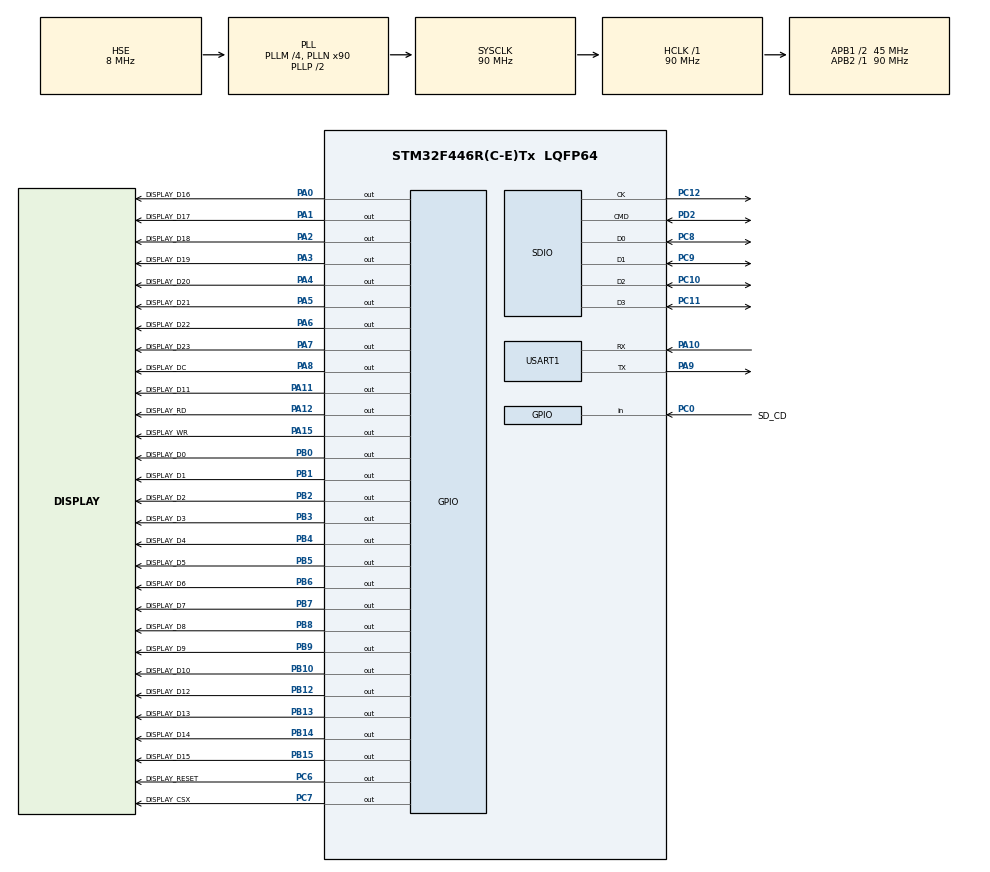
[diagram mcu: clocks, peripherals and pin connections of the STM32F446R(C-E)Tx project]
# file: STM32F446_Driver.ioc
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FATFS.BSP.number=1
FATFS._FS_LOCK=1
FATFS._MAX_SS=4096
FATFS0.BSP.STBoard=false
FATFS0.BSP.api=Unknown
FATFS0.BSP.instance=PC0
FATFS0.BSP.ip=GPIO
FATFS0.BSP.mode=Input
FATFS0.BSP.name=Detect_SDIO
FATFS0.BSP.solution=PC0
Mcu.Family=STM32F4
Mcu.Name=STM32F446R(C-E)Tx
Mcu.Package=LQFP64
NVIC.PriorityGroup=NVIC_PRIORITYGROUP_4
PA0-WKUP.GPIO_Label=DISPLAY_D16
PA0-WKUP.Signal=GPIO_Output
PA1.GPIO_Label=DISPLAY_D17
PA1.Signal=GPIO_Output
PA10.Mode=Asynchronous
PA10.Signal=USART1_RX
PA11.GPIO_Label=DISPLAY_D11
PA11.Signal=GPIO_Output
PA12.GPIO_Label=DISPLAY_RD
PA12.Signal=GPIO_Output
PA13.Mode=Serial_Wire
PA13.Signal=SYS_JTMS-SWDIO
PA14.Mode=Serial_Wire
PA14.Signal=SYS_JTCK-SWCLK
PA15.GPIO_Label=DISPLAY_WR
PA15.Signal=GPIO_Output
PA2.GPIO_Label=DISPLAY_D18
PA2.Signal=GPIO_Output
PA3.GPIO_Label=DISPLAY_D19
PA3.Signal=GPIO_Output
PA4.GPIO_Label=DISPLAY_D20
PA4.Signal=GPIO_Output
PA5.GPIO_Label=DISPLAY_D21
PA5.Signal=GPIO_Output
PA6.GPIO_Label=DISPLAY_D22
PA6.Signal=GPIO_Output
PA7.GPIO_Label=DISPLAY_D23
PA7.Signal=GPIO_Output
PA8.GPIO_Label=DISPLAY_DC
PA8.Signal=GPIO_Output
PA9.Mode=Asynchronous
PA9.Signal=USART1_TX
PB0.GPIO_Label=DISPLAY_D0
PB0.Signal=GPIO_Output
PB1.GPIO_Label=DISPLAY_D1
PB1.Signal=GPIO_Output
PB10.GPIO_Label=DISPLAY_D10
PB10.Signal=GPIO_Output
PB12.GPIO_Label=DISPLAY_D12
PB12.Signal=GPIO_Output
PB13.GPIO_Label=DISPLAY_D13
PB13.Signal=GPIO_Output
PB14.GPIO_Label=DISPLAY_D14
PB14.Signal=GPIO_Output
PB15.GPIO_Label=DISPLAY_D15
PB15.Signal=GPIO_Output
PB2.GPIO_Label=DISPLAY_D2
PB2.Signal=GPIO_Output
PB3.GPIO_Label=DISPLAY_D3
PB3.Signal=GPIO_Output
PB4.GPIO_Label=DISPLAY_D4
PB4.Signal=GPIO_Output
PB5.GPIO_Label=DISPLAY_D5
PB5.Signal=GPIO_Output
PB6.GPIO_Label=DISPLAY_D6
PB6.Signal=GPIO_Output
PB7.GPIO_Label=DISPLAY_D7
PB7.Signal=GPIO_Output
PB8.GPIO_Label=DISPLAY_D8
PB8.Signal=GPIO_Output
PB9.GPIO_Label=DISPLAY_D9
PB9.Signal=GPIO_Output
PC0.GPIO_Label=SD_CD
PC0.GPIO_PuPd=GPIO_NOPULL
PC0.Signal=GPIO_Input
PC10.Mode=SD_4_bits_Wide_bus
PC10.Signal=SDIO_D2
PC11.Mode=SD_4_bits_Wide_bus
PC11.Signal=SDIO_D3
PC12.Mode=SD_4_bits_Wide_bus
PC12.Signal=SDIO_CK
PC6.GPIO_Label=DISPLAY_RESET
PC6.Signal=GPIO_Output
PC7.GPIO_Label=DISPLAY_CSX
PC7.Signal=GPIO_Output
PC8.Mode=SD_4_bits_Wide_bus
PC8.Signal=SDIO_D0
PC9.Mode=SD_4_bits_Wide_bus
PC9.Signal=SDIO_D1
PD2.Mode=SD_4_bits_Wide_bus
PD2.Signal=SDIO_CMD
PH0-OSC_IN.Mode=HSE-External-Oscillator
PH0-OSC_IN.Signal=RCC_OSC_IN
PH1-OSC_OUT.Mode=HSE-External-Oscillator
PH1-OSC_OUT.Signal=RCC_OSC_OUT
ProjectManager.HeapSize=0x200
ProjectManager.StackSize=0x400
ProjectManager.TargetToolchain=Makefile
RCC.AHBFreq_Value=90000000
RCC.APB1CLKDivider=RCC_HCLK_DIV2
RCC.APB1Freq_Value=45000000
RCC.APB1TimFreq_Value=90000000
RCC.APB2Freq_Value=90000000
RCC.APB2TimFreq_Value=90000000
RCC.CortexFreq_Value=90000000
RCC.HCLKFreq_Value=90000000
RCC.HSE_VALUE=8000000
RCC.PLLM=4
RCC.PLLN=90
RCC.PLLQ=4
RCC.PLLSourceVirtual=RCC_PLLSOURCE_HSE
RCC.SYSCLKFreq_VALUE=90000000
RCC.SYSCLKSource=RCC_SYSCLKSOURCE_PLLCLK
RCC.USBFreq_Value=45000000
RCC.VCOOutputFreq_Value=180000000
SDIO.ClockDiv=24
USART1.VirtualMode=VM_ASYNC
VP_FATFS_VS_SDIO.Mode=SDIO
VP_LIBJPEG_VS_JPEGLIB.Mode=Enabled
board=custom

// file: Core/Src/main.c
/* USER CODE BEGIN Header */
/**
 ******************************************************************************
 * @file           : main.c
 * @brief          : Main program body
 ******************************************************************************
 * @attention
 *
 * Copyright (c) 2023 STMicroelectronics.
 * All rights reserved.
 *
 * This software is licensed under terms that can be found in the LICENSE file
 * in the root directory of this software component.
 * If no LICENSE file comes with this software, it is provided AS-IS.
 *
 ******************************************************************************
 */
/* USER CODE END Header */
#include "main.h"

#include "fatfs.h"
#include "libjpeg.h"

/* USER CODE BEGIN Includes */
#include "er_tft040.h"
#include "font_6_12.h"
#include "jpeg_view.h"
#include "stdio.h"
/* USER CODE END Includes */

SD_HandleTypeDef hsd;

UART_HandleTypeDef huart1;

void SystemClock_Config(void);
static void MX_GPIO_Init(void);
static void MX_SDIO_SD_Init(void);
static void MX_USART1_UART_Init(void);

/* USER CODE BEGIN 0 */

void ER_TFT040_textTest() {
    ER_TFT040_textProps text1 = {.font = fontData,
                                 .text = "Welcome to the 4 inch TFT LCD module!",
                                 .posX = 30,
                                 .posY = 5,
                                 .fontSize = 1,
                                 .fontColor = 0xFF0000,
                                 .backgroundColor = 0xFFFFFF};

    ER_TFT040_textProps text2 = {.font = fontData,
                                 .text = "Font size 1",
                                 .posX = 10,
                                 .posY = 20,
                                 .fontSize = 1,
                                 .fontColor = 0xFFFFFF,
                                 .backgroundColor = 0xFF00FF};
    ER_TFT040_textProps text3 = {.font = fontData,
                                 .text = "Font size 2",
                                 .posX = 20,
                                 .posY = 32,
                                 .fontSize = 2,
                                 .fontColor = 0xFFFFFF,
                                 .backgroundColor = 0x0000FF};
    ER_TFT040_textProps text4 = {.font = fontData,
                                 .text = "Font size 3",
                                 .posX = 30,
                                 .posY = 56,
                                 .fontSize = 3,
                                 .fontColor = 0xFFFFFF,
                                 .backgroundColor = 0x00FF00};
    ER_TFT040_textProps text5 = {.font = fontData,
                                 .text = "Font size 4",
                                 .posX = 40,
                                 .posY = 92,
                                 .fontSize = 4,
                                 .fontColor = 0xFFFFFF,
                                 .backgroundColor = 0xFF0000};

    ER_TFT040_drawText(&text1);
    ER_TFT040_drawText(&text2);
    ER_TFT040_drawText(&text3);
    ER_TFT040_drawText(&text4);
    ER_TFT040_drawText(&text5);
}

/* USER CODE END 0 */

int main(void) {

    /* MCU Configuration--------------------------------------------------------*/

    /* Reset of all peripherals, Initializes the Flash interface and the Systick. */
    HAL_Init();

    /* Configure the system clock */
    SystemClock_Config();

    /* Initialize all configured peripherals */
    MX_GPIO_Init();
    MX_SDIO_SD_Init();
    MX_USART1_UART_Init();
    MX_LIBJPEG_Init();
    MX_FATFS_Init();
    /* USER CODE BEGIN 2 */

    ER_TFT040_init();
    ER_TFT040_clearLCD(0x000000);

    /* USER CODE END 2 */

    /* Infinite loop */
    /* USER CODE BEGIN WHILE */

    char textBuffer[16];
    uint16_t counter = 0;
    sprintf(textBuffer, " Counter: %u", counter);

    ER_TFT040_textProps counterText = {.font = fontData,
                                       .text = textBuffer,
                                       .posX = 10,
                                       .posY = 200,
                                       .fontSize = 2,
                                       .fontColor = 0xFF0000,
                                       .backgroundColor = 0xFFFFFF};

    while (1) {
        jpeg_display("/", "IMG01.jpg", 0, 0);
        HAL_Delay(2000);
        jpeg_display("/", "IMG03.jpg", 0, 0);
        HAL_Delay(2000);
        jpeg_display("/", "IMG04.jpg", 0, 0);
        HAL_Delay(2000);
        jpeg_display("/", "IMG05.jpg", 0, 0);
        HAL_Delay(2000);
        jpeg_display("/", "IMG06.jpg", 0, 0);
        HAL_Delay(2000);
        jpeg_display("/", "IMG07.jpg", 0, 0);
        HAL_Delay(2000);
        jpeg_display("/", "IMG08.jpg", 0, 0);
        HAL_Delay(2000);
        /* USER CODE END WHILE */

    }
}

void SystemClock_Config(void) {
    RCC_OscInitTypeDef RCC_OscInitStruct = {0};
    RCC_ClkInitTypeDef RCC_ClkInitStruct = {0};

    /** Configure the main internal regulator output voltage
     */
    __HAL_RCC_PWR_CLK_ENABLE();
    __HAL_PWR_VOLTAGESCALING_CONFIG(PWR_REGULATOR_VOLTAGE_SCALE3);

    /** Initializes the RCC Oscillators according to the specified parameters
     * in the RCC_OscInitTypeDef structure.
     */
    RCC_OscInitStruct.OscillatorType = RCC_OSCILLATORTYPE_HSE;
    RCC_OscInitStruct.HSEState = RCC_HSE_ON;
    RCC_OscInitStruct.PLL.PLLState = RCC_PLL_ON;
    RCC_OscInitStruct.PLL.PLLSource = RCC_PLLSOURCE_HSE;
    RCC_OscInitStruct.PLL.PLLM = 4;
    RCC_OscInitStruct.PLL.PLLN = 90;
    RCC_OscInitStruct.PLL.PLLP = RCC_PLLP_DIV2;
    RCC_OscInitStruct.PLL.PLLQ = 4;
    RCC_OscInitStruct.PLL.PLLR = 2;
    if (HAL_RCC_OscConfig(&RCC_OscInitStruct) != HAL_OK) {
        Error_Handler();
    }

    /** Initializes the CPU, AHB and APB buses clocks
     */
    RCC_ClkInitStruct.ClockType = RCC_CLOCKTYPE_HCLK | RCC_CLOCKTYPE_SYSCLK | RCC_CLOCKTYPE_PCLK1 | RCC_CLOCKTYPE_PCLK2;
    RCC_ClkInitStruct.SYSCLKSource = RCC_SYSCLKSOURCE_PLLCLK;
    RCC_ClkInitStruct.AHBCLKDivider = RCC_SYSCLK_DIV1;
    RCC_ClkInitStruct.APB1CLKDivider = RCC_HCLK_DIV2;
    RCC_ClkInitStruct.APB2CLKDivider = RCC_HCLK_DIV1;

    if (HAL_RCC_ClockConfig(&RCC_ClkInitStruct, FLASH_LATENCY_2) != HAL_OK) {
        Error_Handler();
    }
}

static void MX_SDIO_SD_Init(void) {

    hsd.Instance = SDIO;
    hsd.Init.ClockEdge = SDIO_CLOCK_EDGE_RISING;
    hsd.Init.ClockBypass = SDIO_CLOCK_BYPASS_DISABLE;
    hsd.Init.ClockPowerSave = SDIO_CLOCK_POWER_SAVE_DISABLE;
    hsd.Init.BusWide = SDIO_BUS_WIDE_1B;
    hsd.Init.HardwareFlowControl = SDIO_HARDWARE_FLOW_CONTROL_DISABLE;
    hsd.Init.ClockDiv = 1;
}

static void MX_USART1_UART_Init(void) {

    huart1.Instance = USART1;
    huart1.Init.BaudRate = 115200;
    huart1.Init.WordLength = UART_WORDLENGTH_8B;
    huart1.Init.StopBits = UART_STOPBITS_1;
    huart1.Init.Parity = UART_PARITY_NONE;
    huart1.Init.Mode = UART_MODE_TX_RX;
    huart1.Init.HwFlowCtl = UART_HWCONTROL_NONE;
    huart1.Init.OverSampling = UART_OVERSAMPLING_16;
    if (HAL_UART_Init(&huart1) != HAL_OK) {
        Error_Handler();
    }
}

static void MX_GPIO_Init(void) {
    GPIO_InitTypeDef GPIO_InitStruct = {0};

    /* GPIO Ports Clock Enable */
    __HAL_RCC_GPIOH_CLK_ENABLE();
    __HAL_RCC_GPIOC_CLK_ENABLE();
    __HAL_RCC_GPIOA_CLK_ENABLE();
    __HAL_RCC_GPIOB_CLK_ENABLE();
    __HAL_RCC_GPIOD_CLK_ENABLE();

    /*Configure GPIO pin Output Level */
    HAL_GPIO_WritePin(GPIOA,
                      DISPLAY_D16_Pin | DISPLAY_D17_Pin | DISPLAY_D18_Pin | DISPLAY_D19_Pin | DISPLAY_D20_Pin |
                          DISPLAY_D21_Pin | DISPLAY_D22_Pin | DISPLAY_D23_Pin | DISPLAY_DC_Pin | DISPLAY_D11_Pin |
                          DISPLAY_RD_Pin | DISPLAY_WR_Pin,
                      GPIO_PIN_RESET);

    /*Configure GPIO pin Output Level */
    HAL_GPIO_WritePin(GPIOB,
                      DISPLAY_D0_Pin | DISPLAY_D1_Pin | DISPLAY_D2_Pin | DISPLAY_D10_Pin | DISPLAY_D12_Pin |
                          DISPLAY_D13_Pin | DISPLAY_D14_Pin | DISPLAY_D15_Pin | DISPLAY_D3_Pin | DISPLAY_D4_Pin |
                          DISPLAY_D5_Pin | DISPLAY_D6_Pin | DISPLAY_D7_Pin | DISPLAY_D8_Pin | DISPLAY_D9_Pin,
                      GPIO_PIN_RESET);

    /*Configure GPIO pin Output Level */
    HAL_GPIO_WritePin(GPIOC, DISPLAY_RESET_Pin | DISPLAY_CSX_Pin, GPIO_PIN_RESET);

    /*Configure GPIO pin : SD_CD_Pin */
    GPIO_InitStruct.Pin = SD_CD_Pin;
    GPIO_InitStruct.Mode = GPIO_MODE_INPUT;
    GPIO_InitStruct.Pull = GPIO_NOPULL;
    HAL_GPIO_Init(SD_CD_GPIO_Port, &GPIO_InitStruct);

    /*Configure GPIO pins : DISPLAY_D16_Pin DISPLAY_D17_Pin DISPLAY_D18_Pin DISPLAY_D19_Pin
                             DISPLAY_D20_Pin DISPLAY_D21_Pin DISPLAY_D22_Pin DISPLAY_D23_Pin
                             DISPLAY_DC_Pin DISPLAY_D11_Pin DISPLAY_RD_Pin DISPLAY_WR_Pin */
    GPIO_InitStruct.Pin = DISPLAY_D16_Pin | DISPLAY_D17_Pin | DISPLAY_D18_Pin | DISPLAY_D19_Pin | DISPLAY_D20_Pin |
                          DISPLAY_D21_Pin | DISPLAY_D22_Pin | DISPLAY_D23_Pin | DISPLAY_DC_Pin | DISPLAY_D11_Pin |
                          DISPLAY_RD_Pin | DISPLAY_WR_Pin;
    GPIO_InitStruct.Mode = GPIO_MODE_OUTPUT_PP;
    GPIO_InitStruct.Pull = GPIO_NOPULL;
    GPIO_InitStruct.Speed = GPIO_SPEED_FREQ_LOW;
    HAL_GPIO_Init(GPIOA, &GPIO_InitStruct);

    /*Configure GPIO pins : DISPLAY_D0_Pin DISPLAY_D1_Pin DISPLAY_D2_Pin DISPLAY_D10_Pin
                             DISPLAY_D12_Pin DISPLAY_D13_Pin DISPLAY_D14_Pin DISPLAY_D15_Pin
                             DISPLAY_D3_Pin DISPLAY_D4_Pin DISPLAY_D5_Pin DISPLAY_D6_Pin
                             DISPLAY_D7_Pin DISPLAY_D8_Pin DISPLAY_D9_Pin */
    GPIO_InitStruct.Pin = DISPLAY_D0_Pin | DISPLAY_D1_Pin | DISPLAY_D2_Pin | DISPLAY_D10_Pin | DISPLAY_D12_Pin |
                          DISPLAY_D13_Pin | DISPLAY_D14_Pin | DISPLAY_D15_Pin | DISPLAY_D3_Pin | DISPLAY_D4_Pin |
                          DISPLAY_D5_Pin | DISPLAY_D6_Pin | DISPLAY_D7_Pin | DISPLAY_D8_Pin | DISPLAY_D9_Pin;
    GPIO_InitStruct.Mode = GPIO_MODE_OUTPUT_PP;
    GPIO_InitStruct.Pull = GPIO_NOPULL;
    GPIO_InitStruct.Speed = GPIO_SPEED_FREQ_LOW;
    HAL_GPIO_Init(GPIOB, &GPIO_InitStruct);

    /*Configure GPIO pins : DISPLAY_RESET_Pin DISPLAY_CSX_Pin */
    GPIO_InitStruct.Pin = DISPLAY_RESET_Pin | DISPLAY_CSX_Pin;
    GPIO_InitStruct.Mode = GPIO_MODE_OUTPUT_PP;
    GPIO_InitStruct.Pull = GPIO_NOPULL;
    GPIO_InitStruct.Speed = GPIO_SPEED_FREQ_LOW;
    HAL_GPIO_Init(GPIOC, &GPIO_InitStruct);

}

void Error_Handler(void) {
    __disable_irq();
    while (1) {
    }
}
